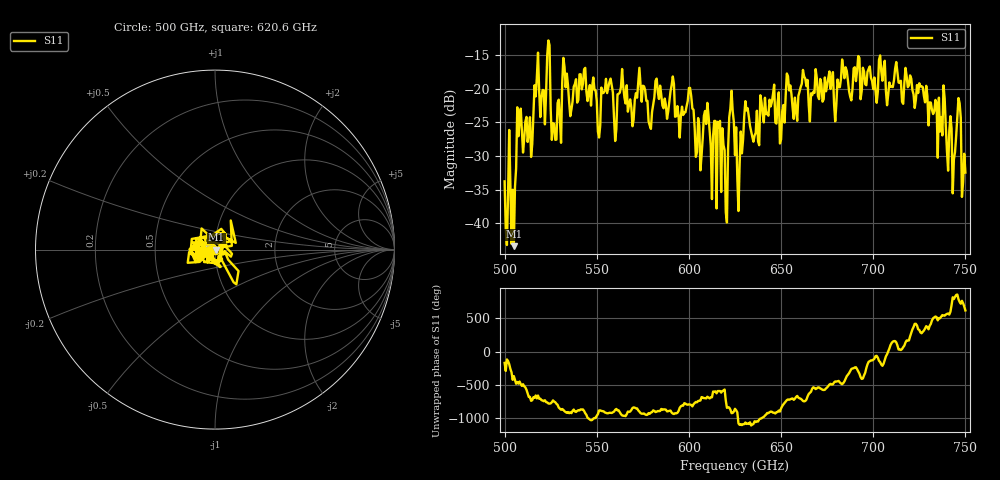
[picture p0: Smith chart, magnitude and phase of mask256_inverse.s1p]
!Created with skrf (http://scikit-rf.org).
# GHz S MA R 50.0
!freq magS11 angS11
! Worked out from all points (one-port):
!   401 points, 500 GHz to 750 GHz, reference 50 ohm
!   lowest |S11| = -43.4 dB at 505 GHz (marker M1), VSWR 1.01, Z = 50.7 - j0.0758 ohm
!   |S11| at or under -10 dB: start of sweep to end of sweep
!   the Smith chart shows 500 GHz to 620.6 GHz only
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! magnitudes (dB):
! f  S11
! 500 GHz  -33.8
! 505 GHz  -43.4
! 508.1 GHz  -24.9
! 513.8 GHz  -24.3
! 517.5 GHz  -18.3
! 520.6 GHz  -20.2
! 523.8 GHz  -12.9
! 526.9 GHz  -25.2
! 531.2 GHz  -19.2
! 560.6 GHz  -26.0
! 562.5 GHz  -20.6
! 579.4 GHz  -26.0
! 590.6 GHz  -19.5
! 593.8 GHz  -22.6
! 600.6 GHz  -19.9
! 605 GHz  -24.4
! 609.4 GHz  -25.3
! 620 GHz  -38.3
! 623.1 GHz  -20.3
! 625 GHz  -29.9
! 627.5 GHz  -31.4
! 631.2 GHz  -23.3
! 656.2 GHz  -22.9
! 687.5 GHz  -21.2
! 718.8 GHz  -19.8
! 743.8 GHz  -30.5
! 746.2 GHz  -21.4
! 750 GHz  -32.5
